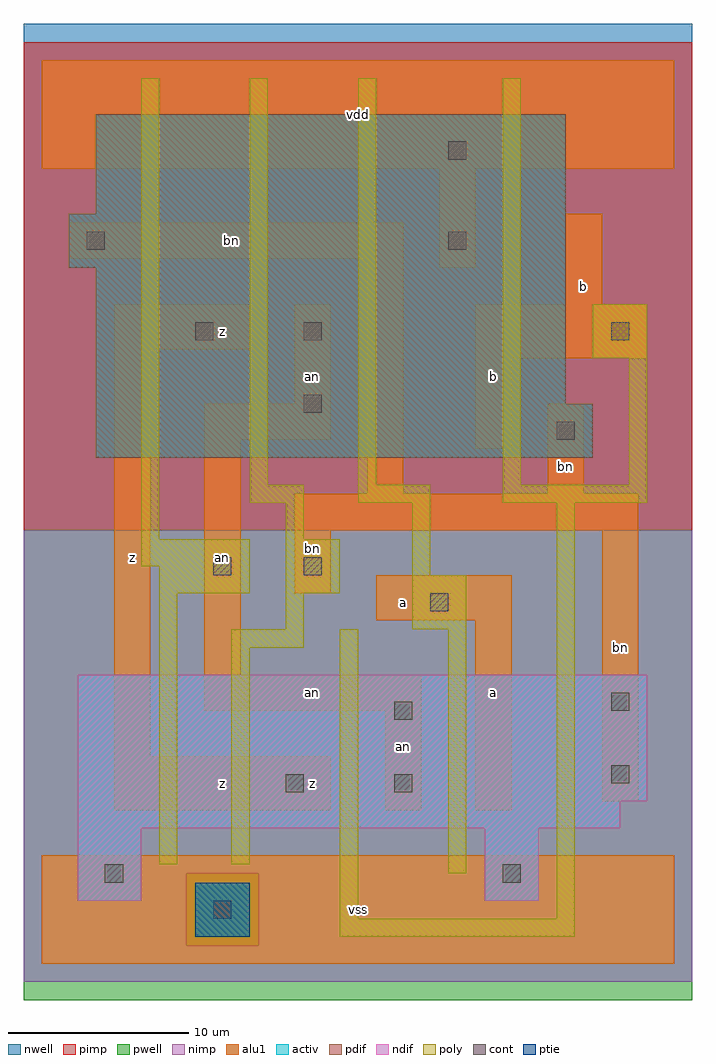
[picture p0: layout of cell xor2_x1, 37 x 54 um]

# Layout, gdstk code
import gdstk
lib = gdstk.Library(unit=1e-6, precision=1e-09)
def R(c, l, rs):  # rectangles x0, y0, x1, y1
    for r in rs: c.add(gdstk.rectangle(r[:2], r[2:], *l))
ndif = (3, 0)
pdif = (4, 0)
ptie = (6, 0)
cont = (25, 0)
pwell = (41, 0)
nwell = (42, 0)
activ = (43, 0)
pimp = (44, 0)
nimp = (45, 0)
poly = (46, 0)
alu1 = (49, 0)

xor2_x1 = lib.new_cell('xor2_x1')
R(xor2_x1, ndif, [(2,3.5,5.5,7.5), (24.5,3.5,27.5,7.5), (2,7.5,32,9), (2,9,33.5,16)])
R(xor2_x1, pdif, [(3,28,30.5,31), (3,31,29,38.5), (1.5,38.5,29,41.5), (3,41.5,29,47)])
R(xor2_x1, ptie, [(8.5,1.5,11.5,4.5)])
R(xor2_x1, cont, [(9.5,2.5,10.5,3.5), (3.5,4.5,4.5,5.5), (25.5,4.5,26.5,5.5), (13.5,9.5,14.5,10.5), (19.5,9.5,20.5,10.5), (31.5,10,32.5,11), (19.5,13.5,20.5,14.5), (31.5,14,32.5,15), (21.5,19.5,22.5,20.5), (9.5,21.5,10.5,22.5), (14.5,21.5,15.5,22.5), (28.5,29,29.5,30), (14.5,30.5,15.5,31.5), (8.5,34.5,9.5,35.5), (14.5,34.5,15.5,35.5), (31.5,34.5,32.5,35.5), (2.5,39.5,3.5,40.5), (22.5,39.5,23.5,40.5), (22.5,44.5,23.5,45.5)])
R(xor2_x1, pwell, [(-1,-2,36,24)])
R(xor2_x1, nwell, [(-1,24,36,52)])
R(xor2_x1, activ, [(8.5,1.5,11.5,4.5), (2,3.5,5.5,7.5), (24.5,3.5,27.5,7.5), (2,7.5,32,9), (2,9,33.5,16), (3,28,30.5,31), (3,31,29,38.5), (1.5,38.5,29,41.5), (3,41.5,29,47)])
R(xor2_x1, pimp, [(8,1,12,5), (-1,24,36,51)])
R(xor2_x1, nimp, [(-1,-1,36,1), (-1,1,8,5), (12,1,36,5), (-1,5,36,24)])
R(xor2_x1, poly, [(16.5,1.5,29.5,2.5), (16.5,2.5,17.5,18.5), (28.5,2.5,29.5,25.5), (22.5,5,23.5,18.5), (6.5,5.5,7.5,20.5), (10.5,5.5,11.5,17.5), (10.5,17.5,14.5,18.5), (13.5,18.5,14.5,20.5), (20.5,18.5,23.5,21.5), (6.5,20.5,11.5,22), (13.5,20.5,16.5,23.5), (20.5,21.5,21.5,25.5), (5.5,22,11.5,23.5), (5.5,23.5,6.5,49), (13.5,23.5,14.5,25.5), (11.5,25.5,14.5,26.5), (17.5,25.5,21.5,26.5), (25.5,25.5,33.5,26.5), (11.5,26.5,12.5,49), (17.5,26.5,18.5,49), (25.5,26.5,26.5,49), (32.5,26.5,33.5,33.5), (30.5,33.5,33.5,36.5)])
R(xor2_x1, alu1, [(0,0,35,6), (4,8.5,16,11.5), (19,8.5,21,14), (24,8.5,26,19), (31,9,33,24), (4,11.5,6,34), (9,14,21,16), (9,16,11,29), (18.5,19,26,21.5), (14,20.5,16,24), (14,24,33,26), (18,26,20,39), (28,26,30,31), (24,28.5,26,33.5), (9,29,16,31), (14,31,16,36.5), (24,33.5,33.5,36.5), (4,34,11.5,36.5), (29,36.5,31,41.5), (22,38.5,24,44), (1.5,39,20,41), (0,44,35,50)])
xor2_x1.add(gdstk.Label('z', (5,22.5), layer=49, texttype=0))
xor2_x1.add(gdstk.Label('z', (10,10), layer=49, texttype=0))
xor2_x1.add(gdstk.Label('z', (15,10), layer=49, texttype=0))
xor2_x1.add(gdstk.Label('bn', (15,23), layer=49, texttype=0))
xor2_x1.add(gdstk.Label('an', (10,22.5), layer=49, texttype=0))
xor2_x1.add(gdstk.Label('z', (10,35), layer=49, texttype=0))
xor2_x1.add(gdstk.Label('an', (15,32.5), layer=49, texttype=0))
xor2_x1.add(gdstk.Label('vss', (17.5,3), layer=49, texttype=0))
xor2_x1.add(gdstk.Label('an', (20,12), layer=49, texttype=0))
xor2_x1.add(gdstk.Label('an', (15,15), layer=49, texttype=0))
xor2_x1.add(gdstk.Label('a', (25,15), layer=49, texttype=0))
xor2_x1.add(gdstk.Label('a', (20,20), layer=49, texttype=0))
xor2_x1.add(gdstk.Label('b', (25,32.5), layer=49, texttype=0))
xor2_x1.add(gdstk.Label('vdd', (17.5,47), layer=49, texttype=0))
xor2_x1.add(gdstk.Label('bn', (10.5,40), layer=49, texttype=0))
xor2_x1.add(gdstk.Label('bn', (29,27.5), layer=49, texttype=0))
xor2_x1.add(gdstk.Label('bn', (32,17.5), layer=49, texttype=0))
xor2_x1.add(gdstk.Label('b', (30,37.5), layer=49, texttype=0))

lib.write_gds('xor2_x1.gds')
